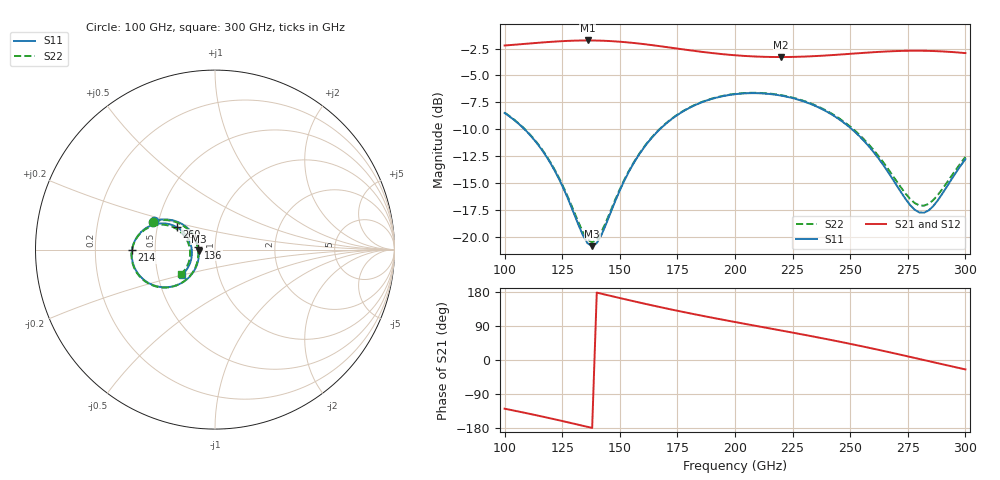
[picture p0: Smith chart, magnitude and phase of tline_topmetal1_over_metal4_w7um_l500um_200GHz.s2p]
#  GHZ S DB R 50
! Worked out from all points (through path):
!   101 points, 100 GHz to 300 GHz, reference 50 ohm
!   highest |S21| = -1.75 dB at 136 GHz (marker M1); lowest = -3.3 dB at 220 GHz (marker M2)
!   group delay of S21, straight-line fit = 3.49 ps
!   lowest |S11| = -20.9 dB at 138 GHz (marker M3), VSWR 1.20, Z = 41.7 - j0.588 ohm
!   |S11| at or under -10 dB: 108.6 GHz to 167.4 GHz (58.83 GHz wide, 42.6 % of centre); 250.7 GHz to end of sweep
!   |S22| runs from -20.5 to -6.6 dB; largest |S21 - S12| = 9e-14
!   S11 on the Smith chart (normalised r, x): 100 GHz: 0.47, +0.17; 136 GHz: 0.83, +0.02; 214 GHz: 0.37, -0.00; 260 GHz: 0.63, +0.17; 300 GHz: 0.67, -0.20
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100  -8.49 155.2  -2.22 -128.5  -2.22 -128.5  -8.47 155.9
110  -10.30 146.9  -2.05 -141.0  -2.05 -141.0  -10.26 147.8
118  -12.50 142.4  -1.91 -151.5  -1.91 -151.5  -12.43 143.5
124  -14.80 142.2  -1.83 -159.6  -1.83 -159.6  -14.70 143.6
134  -19.87 162.4  -1.75 -173.6  -1.75 -173.6  -19.57 163.7
136  -20.61 172.6  -1.75 -176.5  -1.75 -176.5  -20.26 173.5
138  -20.88 -175.6  -1.75 -179.3  -1.75 -179.3  -20.52 -175.3
142  -19.85 -153.6  -1.77 174.9  -1.77 174.9  -19.57 -154.2
156  -13.17 -133.2  -1.98 155.1  -1.98 155.1  -13.11 -133.5
168  -9.88 -139.8  -2.30 138.9  -2.30 138.9  -9.84 -139.7
182  -7.83 -151.7  -2.71 121.3  -2.71 121.3  -7.80 -151.3
200  -6.75 -167.7  -3.13 100.3  -3.13 100.3  -6.72 -167.1
214  -6.71 -179.8  -3.28 84.6  -3.28 84.6  -6.67 -178.9
220  -6.88 175.2  -3.29 77.9  -3.29 77.9  -6.84 176.2
234  -7.76 163.9  -3.21 61.9  -3.21 61.9  -7.70 165.2
248  -9.52 154.1  -3.02 45.1  -3.02 45.1  -9.42 155.8
260  -12.08 149.5  -2.84 29.8  -2.84 29.8  -11.90 151.7
268  -14.50 152.4  -2.75 19.1  -2.75 19.1  -14.18 154.8
276  -17.05 166.5  -2.71 8.2  -2.71 8.2  -16.49 168.4
282  -17.77 -173.8  -2.71 -0.1  -2.71 -0.1  -17.12 -173.7
288  -16.63 -155.6  -2.75 -8.4  -2.75 -8.4  -16.13 -156.9
300  -12.78 -142.7  -2.93 -24.8  -2.93 -24.8  -12.58 -144.1
